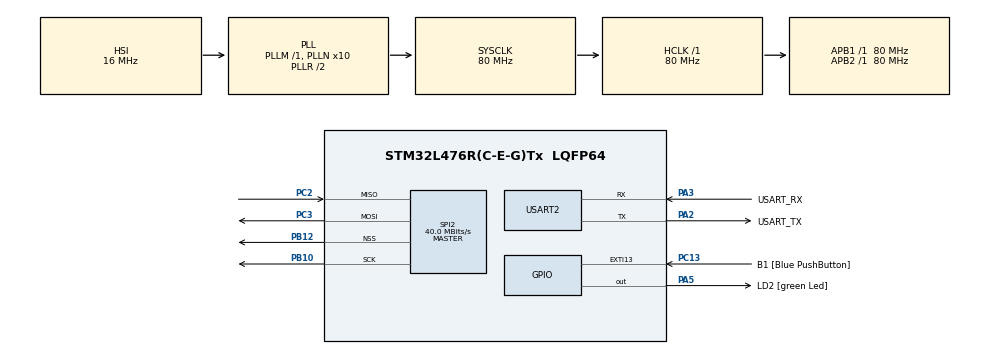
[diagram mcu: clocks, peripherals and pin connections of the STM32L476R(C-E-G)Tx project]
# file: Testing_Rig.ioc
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Mcu.Family=STM32L4
Mcu.Name=STM32L476R(C-E-G)Tx
Mcu.Package=LQFP64
NVIC.EXTI15_10_IRQn=true\:0\:0\:false\:false\:true\:true\:true\:true
NVIC.PriorityGroup=NVIC_PRIORITYGROUP_4
NVIC.TIM2_IRQn=true\:0\:0\:false\:false\:true\:true\:true\:true
NVIC.USART2_IRQn=true\:0\:0\:false\:false\:true\:true\:true\:true
PA13\ (JTMS-SWDIO).GPIO_Label=TMS
PA13\ (JTMS-SWDIO).Mode=Serial_Wire
PA13\ (JTMS-SWDIO).Signal=SYS_JTMS-SWDIO
PA14\ (JTCK-SWCLK).GPIO_Label=TCK
PA14\ (JTCK-SWCLK).Mode=Serial_Wire
PA14\ (JTCK-SWCLK).Signal=SYS_JTCK-SWCLK
PA2.GPIO_Label=USART_TX
PA2.GPIO_Mode=GPIO_MODE_AF_PP
PA2.GPIO_PuPd=GPIO_NOPULL
PA2.GPIO_Speed=GPIO_SPEED_FREQ_VERY_HIGH
PA2.Mode=Asynchronous
PA2.Signal=USART2_TX
PA3.GPIO_Label=USART_RX
PA3.GPIO_Mode=GPIO_MODE_AF_PP
PA3.GPIO_PuPd=GPIO_NOPULL
PA3.GPIO_Speed=GPIO_SPEED_FREQ_VERY_HIGH
PA3.Mode=Asynchronous
PA3.Signal=USART2_RX
PA5.GPIO_Label=LD2 [green Led]
PA5.GPIO_ModeDefaultOutputPP=GPIO_MODE_OUTPUT_PP
PA5.GPIO_PuPd=GPIO_NOPULL
PA5.GPIO_Speed=GPIO_SPEED_FREQ_LOW
PA5.Signal=GPIO_Output
PB10.Mode=Full_Duplex_Master
PB10.Signal=SPI2_SCK
PB12.Mode=NSS_Signal_Hard_Output
PB12.Signal=SPI2_NSS
PB3\ (JTDO-TRACESWO).GPIO_Label=SWO
PB3\ (JTDO-TRACESWO).Signal=SYS_JTDO-SWO
PC13.GPIO_Label=B1 [Blue PushButton]
PC13.GPIO_ModeDefaultEXTI=GPIO_MODE_IT_FALLING
PC13.GPIO_PuPd=GPIO_NOPULL
PC13.Signal=GPXTI13
PC14-OSC32_IN\ (PC14).Mode=LSE-External-Oscillator
PC14-OSC32_IN\ (PC14).Signal=RCC_OSC32_IN
PC15-OSC32_OUT\ (PC15).Mode=LSE-External-Oscillator
PC15-OSC32_OUT\ (PC15).Signal=RCC_OSC32_OUT
PC2.Mode=Full_Duplex_Master
PC2.Signal=SPI2_MISO
PC3.Mode=Full_Duplex_Master
PC3.Signal=SPI2_MOSI
PH0-OSC_IN\ (PH0).Signal=RCC_OSC_IN
PH1-OSC_OUT\ (PH1).Signal=RCC_OSC_OUT
ProjectManager.HeapSize=0x200
ProjectManager.StackSize=0x400
ProjectManager.TargetToolchain=STM32CubeIDE
RCC.ADCFreq_Value=64000000
RCC.AHBFreq_Value=80000000
RCC.APB1Freq_Value=80000000
RCC.APB1TimFreq_Value=80000000
RCC.APB2Freq_Value=80000000
RCC.APB2TimFreq_Value=80000000
RCC.CortexFreq_Value=80000000
RCC.HCLKFreq_Value=80000000
RCC.HSE_VALUE=8000000
RCC.HSI_VALUE=16000000
RCC.MSI_VALUE=4000000
RCC.PLLN=10
RCC.PLLSourceVirtual=RCC_PLLSOURCE_HSI
RCC.PREFETCH_ENABLE=1
RCC.SYSCLKFreq_VALUE=80000000
RCC.SYSCLKSource=RCC_SYSCLKSOURCE_PLLCLK
RCC.USBFreq_Value=64000000
RCC.VCOOutputFreq_Value=160000000
SPI2.CalculateBaudRate=40.0 MBits/s
SPI2.DataSize=SPI_DATASIZE_8BIT
SPI2.Direction=SPI_DIRECTION_2LINES
SPI2.Mode=SPI_MODE_MASTER
SPI2.VirtualNSS=VM_NSSHARD
SPI2.VirtualType=VM_MASTER
TIM2.Period=100
USART2.VirtualMode-Asynchronous=VM_ASYNC
VP_TIM2_VS_ClockSourceINT.Mode=Internal
board=NUCLEO-L476RG

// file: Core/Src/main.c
/* USER CODE BEGIN Header */
/**
  ******************************************************************************
  * @file           : main.c
  * @brief          : Main program body
  ******************************************************************************
  * @attention
  *
  * Copyright (c) 2024 STMicroelectronics.
  * All rights reserved.
  *
  * This software is licensed under terms that can be found in the LICENSE file
  * in the root directory of this software component.
  * If no LICENSE file comes with this software, it is provided AS-IS.
  *
  ******************************************************************************
  */
/* USER CODE END Header */
#include "main.h"
#include "spi.h"
#include "tim.h"
#include "usart.h"
#include "gpio.h"

/* USER CODE BEGIN Includes */
#include "stdlib.h"
#include "string.h"
#include "stdio.h"
#include "math.h"

//#include "WS2812.h"
//
//#include "VEML6040.h"
//#include "Waveshare_AS7341.h"
//
//#include "TCA9548APWR.h"
#include "stm32l4xx_hal.h"
//#include "lcd_stm32f0.h"
/* USER CODE END Includes */

/* USER CODE BEGIN PV */
uint8_t i = 0;
uint8_t ret;
//rgb_t VEML_data;

uint8_t ATIME;
uint16_t ASTEP;

//sModeOneData_t data1;
//sModeTwoData_t data2;

// uint8_t t_int;

uint8_t received_byte;
uint8_t my_variable;

#define RX_BUFFER_SIZE 50

uint8_t rx_buffer[RX_BUFFER_SIZE];
int r, g, b, brightness, mode, pos;
uint16_t rx_index = 0;

uint8_t id_buffer[3]; // Buffer to store Manufacturer/Device ID
uint8_t uart_tx_buffer[64];

#define READ_ID_CMD 0x9F
/* USER CODE END PV */

void SystemClock_Config(void);
/* USER CODE BEGIN PFP */
void AS7341_Start(void);
void Flash_ReadID(void);
/* USER CODE END PFP */

/* USER CODE BEGIN 0 */
#ifdef __GNUC__
#define PUTCHAR_PROTOTYPE int __io_putchar(int ch)
#else
#define PUTCHAR_PROTOTYPE int fputc(int ch, FILE *f)
#endif

PUTCHAR_PROTOTYPE
{
  HAL_UART_Transmit(&huart2, (uint8_t *)&ch, 1, HAL_MAX_DELAY);
  return ch;
}
/* USER CODE END 0 */

int main(void)
{

  /* MCU Configuration--------------------------------------------------------*/

  /* Reset of all peripherals, Initializes the Flash interface and the Systick. */
  HAL_Init();

  /* Configure the system clock */
  SystemClock_Config();

  /* Initialize all configured peripherals */
  MX_GPIO_Init();
  MX_USART2_UART_Init();
  MX_TIM2_Init();
  MX_SPI2_Init();
  /* USER CODE BEGIN 2 */
  // t_int = 40;
  printf("Starting\n\r");
  // HAL_UART_Receive_IT(&huart2, &received_byte, 1);
//  r = 0;
//  g = 0;
//  b = 0;
  // lcd_putstring("HELLO");
  // RGB(0, 0, 255, 20, 0, 0);

//  TCA9548A_Initialise();
//  TCA9548A_Channel_Select(&hi2c2, TCA_ADDRESS_1, TCA_CHANNEL_4);
//  AS7341_Start();
//
//  TCA9548A_Channel_Select(&hi2c2, TCA_ADDRESS_1, TCA_CHANNEL_3);
//  VEML6040_SetConfiguration(&hi2c2, VEML6040_IT_160MS | VEML6040_AF_AUTO | VEML6040_SD_ENABLE);
//
//  printf("All devices configured\n\r");

  /* USER CODE END 2 */

  /* Infinite loop */
  while (1)
  {

    /* USER CODE BEGIN 3 */
	  Flash_ReadID(); // Read and print Manufacturer/Device ID
	  HAL_Delay(1000); // Wait 1 second before retrying
  }
  /* USER CODE END 3 */
}

void SystemClock_Config(void)
{
  RCC_OscInitTypeDef RCC_OscInitStruct = {0};
  RCC_ClkInitTypeDef RCC_ClkInitStruct = {0};

  /** Configure the main internal regulator output voltage
  */
  if (HAL_PWREx_ControlVoltageScaling(PWR_REGULATOR_VOLTAGE_SCALE1) != HAL_OK)
  {
    Error_Handler();
  }

  /** Initializes the RCC Oscillators according to the specified parameters
  * in the RCC_OscInitTypeDef structure.
  */
  RCC_OscInitStruct.OscillatorType = RCC_OSCILLATORTYPE_HSI;
  RCC_OscInitStruct.HSIState = RCC_HSI_ON;
  RCC_OscInitStruct.HSICalibrationValue = RCC_HSICALIBRATION_DEFAULT;
  RCC_OscInitStruct.PLL.PLLState = RCC_PLL_ON;
  RCC_OscInitStruct.PLL.PLLSource = RCC_PLLSOURCE_HSI;
  RCC_OscInitStruct.PLL.PLLM = 1;
  RCC_OscInitStruct.PLL.PLLN = 10;
  RCC_OscInitStruct.PLL.PLLP = RCC_PLLP_DIV7;
  RCC_OscInitStruct.PLL.PLLQ = RCC_PLLQ_DIV2;
  RCC_OscInitStruct.PLL.PLLR = RCC_PLLR_DIV2;
  if (HAL_RCC_OscConfig(&RCC_OscInitStruct) != HAL_OK)
  {
    Error_Handler();
  }

  /** Initializes the CPU, AHB and APB buses clocks
  */
  RCC_ClkInitStruct.ClockType = RCC_CLOCKTYPE_HCLK|RCC_CLOCKTYPE_SYSCLK
                              |RCC_CLOCKTYPE_PCLK1|RCC_CLOCKTYPE_PCLK2;
  RCC_ClkInitStruct.SYSCLKSource = RCC_SYSCLKSOURCE_PLLCLK;
  RCC_ClkInitStruct.AHBCLKDivider = RCC_SYSCLK_DIV1;
  RCC_ClkInitStruct.APB1CLKDivider = RCC_HCLK_DIV1;
  RCC_ClkInitStruct.APB2CLKDivider = RCC_HCLK_DIV1;

  if (HAL_RCC_ClockConfig(&RCC_ClkInitStruct, FLASH_LATENCY_4) != HAL_OK)
  {
    Error_Handler();
  }
}

/* USER CODE BEGIN 4 */
void HAL_UART_RxCpltCallback(UART_HandleTypeDef *huart)
{
    if (huart->Instance == USART2)  // Check if the interrupt is for USART2
    {
      // Store the received byte in the buffer
      rx_buffer[rx_index++] = received_byte;

      // Check for end of message (newline) or buffer overflow
      if (received_byte == '\n' || rx_index >= RX_BUFFER_SIZE)
      {
          // Process the complete message here
          printf("Received message: %s\n", rx_buffer);
//          sscanf((char *)rx_buffer, "%d,%d,%d,%d,%d,%d", &r, &g, &b, &brightness, &mode, &pos);
//          RGB(r, g, b, brightness, mode, pos);
          // Reset the buffer index for the next message
//          rx_index = 0;
          memset(rx_buffer, 0, RX_BUFFER_SIZE);
      }

      // Re-enable UART to receive the next byte
      HAL_GPIO_TogglePin(LD2_GPIO_Port, LD2_Pin);
      HAL_UART_Receive_IT(&huart2, &received_byte, 1);
    }
}

//void AS7341_Start(){
////	DEV_I2C_Init(0x39<<1);
//
//	AS7341_Init(MODE);
//	AS7341_EnableSpectralInterrupt(INT);
//	AS7341_AGAIN_config(AGAIN);
//	AS7341_EnableLED(LED_AS7341);
//
//	/* t_int = (ATIME + 1)*(ASTEP + 1)*2.78e-6
//	 * max t_int = 50s */
//	switch(t_int)
//	{
//	case 40:
//		ATIME = 29;
//		ASTEP = 479;
//		break;
//	case 80:
//		ATIME = 59;
//		ASTEP = 479;
//		break;
//	case 160:
//		ATIME = 59;
//		ASTEP = 958;
//		break;
//	case 320:
//		ATIME = 59;
//		ASTEP = 1917;
//		break;
//	case 640:
//		ATIME = 29;
//		ASTEP = 7673;
//		break;
//	case 1280:
//		ATIME = 119;
//		ASTEP = 3826;
//		break;
//	default:
//		ATIME = 29; // 50 ms
//		ASTEP = 599;
//		break;
//	}
//
//	AS7341_ATIME_config(ATIME);
//	AS7341_ASTEP_config(ASTEP);
//}

// Function to read Manufacturer/Device ID
void Flash_ReadID(void) {
    uint8_t cmd = READ_ID_CMD;

    HAL_SPI_Transmit(&hspi2, &cmd, 1, HAL_MAX_DELAY); // Send Read ID command
    HAL_SPI_Receive(&hspi2, id_buffer, sizeof(id_buffer), HAL_MAX_DELAY); // Receive 3 bytes of ID

    // Send ID data over UART for verification
    sprintf((char *)uart_tx_buffer, "Manufacturer ID: 0x%02X, Device ID: 0x%02X%02X\n",
            id_buffer[0], id_buffer[1], id_buffer[2]);
    HAL_UART_Transmit(&huart2, uart_tx_buffer, strlen((char *)uart_tx_buffer), HAL_MAX_DELAY);
}
/* USER CODE END 4 */

void Error_Handler(void)
{
  __disable_irq();
  while (1)
  {
  }
}
